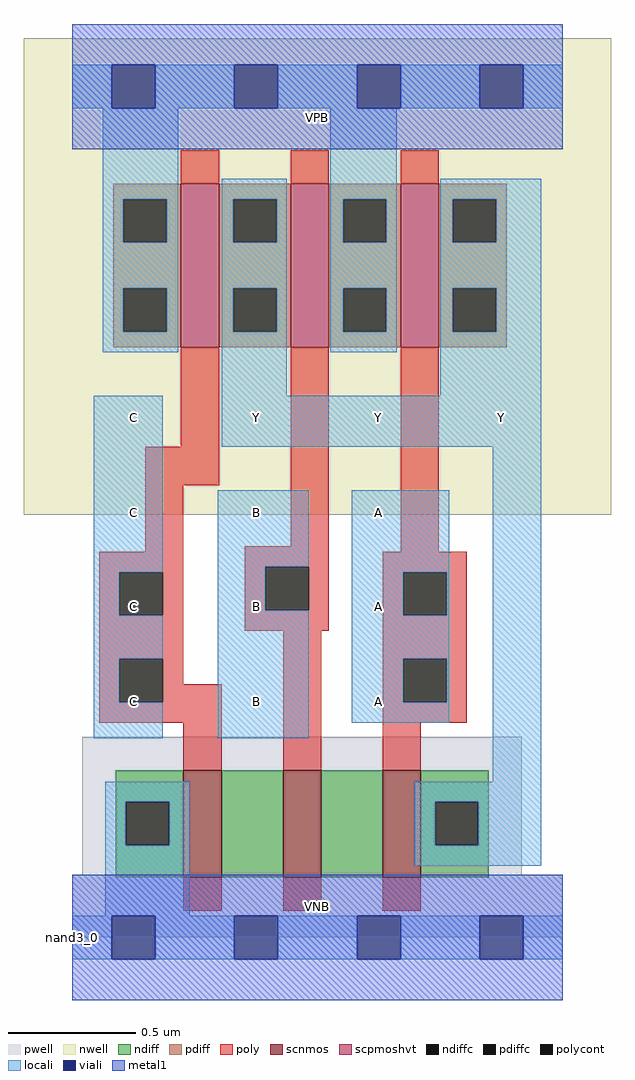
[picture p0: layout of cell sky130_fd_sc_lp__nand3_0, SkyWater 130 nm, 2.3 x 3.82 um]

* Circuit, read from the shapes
.subckt sky130_fd_sc_lp__nand3_0 A B C VGND VNB VPB VPWR Y
XM1 n1 C VGND VNB sky130_fd_pr__nfet_01v8 w=0.42 l=0.15
XM2 n2 B n1 VNB sky130_fd_pr__nfet_01v8 w=0.42 l=0.15
XM3 Y A n2 VNB sky130_fd_pr__nfet_01v8 w=0.42 l=0.15
XM4 Y C VPWR VPB sky130_fd_pr__pfet_01v8_hvt w=0.64 l=0.15
XM5 VPWR B Y VPB sky130_fd_pr__pfet_01v8_hvt w=0.64 l=0.15
XM6 Y A VPWR VPB sky130_fd_pr__pfet_01v8_hvt w=0.64 l=0.15
.ends

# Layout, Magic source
magic
tech sky130A
magscale 1 2
<< nwell >>
rect -38 331 422 704
<< pwell >>
rect 8 49 352 157
rect 0 0 384 49
<< scnmos >>
rect 87 47 117 131
rect 165 47 195 131
rect 243 47 273 131
<< scpmoshvt >>
rect 85 462 115 590
rect 171 462 201 590
rect 257 462 287 590
<< ndiff >>
rect 34 106 87 131
rect 34 72 42 106
rect 76 72 87 106
rect 34 47 87 72
rect 117 47 165 131
rect 195 47 243 131
rect 273 106 326 131
rect 273 72 284 106
rect 318 72 326 106
rect 273 47 326 72
<< pdiff >>
rect 32 578 85 590
rect 32 544 40 578
rect 74 544 85 578
rect 32 508 85 544
rect 32 474 40 508
rect 74 474 85 508
rect 32 462 85 474
rect 115 578 171 590
rect 115 544 126 578
rect 160 544 171 578
rect 115 508 171 544
rect 115 474 126 508
rect 160 474 171 508
rect 115 462 171 474
rect 201 578 257 590
rect 201 544 212 578
rect 246 544 257 578
rect 201 508 257 544
rect 201 474 212 508
rect 246 474 257 508
rect 201 462 257 474
rect 287 578 340 590
rect 287 544 298 578
rect 332 544 340 578
rect 287 508 340 544
rect 287 474 298 508
rect 332 474 340 508
rect 287 462 340 474
<< ndiffc >>
rect 42 72 76 106
rect 284 72 318 106
<< pdiffc >>
rect 40 544 74 578
rect 40 474 74 508
rect 126 544 160 578
rect 126 474 160 508
rect 212 544 246 578
rect 212 474 246 508
rect 298 544 332 578
rect 298 474 332 508
<< poly >>
rect 85 590 115 616
rect 171 590 201 616
rect 257 590 287 616
rect 85 384 115 462
rect 57 354 115 384
rect 57 302 87 354
rect 171 306 201 462
rect 21 286 87 302
rect 21 252 37 286
rect 71 252 87 286
rect 21 218 87 252
rect 135 290 201 306
rect 257 302 287 462
rect 135 256 151 290
rect 185 256 201 290
rect 135 240 201 256
rect 243 286 309 302
rect 243 252 259 286
rect 293 252 309 286
rect 21 184 37 218
rect 71 198 87 218
rect 71 184 117 198
rect 21 168 117 184
rect 87 131 117 168
rect 165 131 195 240
rect 243 218 309 252
rect 243 184 259 218
rect 293 184 309 218
rect 243 168 309 184
rect 243 131 273 168
rect 87 21 117 47
rect 165 21 195 47
rect 243 21 273 47
<< polycont >>
rect 37 252 71 286
rect 151 256 185 290
rect 259 252 293 286
rect 37 184 71 218
rect 259 184 293 218
<< locali >>
rect 0 649 31 683
rect 65 649 127 683
rect 161 649 223 683
rect 257 649 319 683
rect 353 649 384 683
rect 24 578 83 649
rect 24 544 40 578
rect 74 544 83 578
rect 24 508 83 544
rect 24 474 40 508
rect 74 474 83 508
rect 24 458 83 474
rect 117 578 168 594
rect 117 544 126 578
rect 160 544 168 578
rect 117 508 168 544
rect 117 474 126 508
rect 160 474 168 508
rect 117 424 168 474
rect 202 578 254 649
rect 202 544 212 578
rect 246 544 254 578
rect 202 508 254 544
rect 202 474 212 508
rect 246 474 254 508
rect 202 458 254 474
rect 288 578 367 594
rect 288 544 298 578
rect 332 544 367 578
rect 288 508 367 544
rect 288 474 298 508
rect 332 474 367 508
rect 288 424 367 474
rect 17 286 71 424
rect 117 384 367 424
rect 17 252 37 286
rect 17 218 71 252
rect 17 184 37 218
rect 17 156 71 184
rect 114 290 185 350
rect 114 256 151 290
rect 114 156 185 256
rect 219 286 295 350
rect 219 252 259 286
rect 293 252 295 286
rect 219 218 295 252
rect 219 184 259 218
rect 293 184 295 218
rect 219 168 295 184
rect 329 122 367 384
rect 26 106 92 122
rect 26 72 42 106
rect 76 72 92 106
rect 26 17 92 72
rect 268 106 367 122
rect 268 72 284 106
rect 318 72 367 106
rect 268 56 367 72
rect 0 -17 31 17
rect 65 -17 127 17
rect 161 -17 223 17
rect 257 -17 319 17
rect 353 -17 384 17
<< viali >>
rect 31 649 65 683
rect 127 649 161 683
rect 223 649 257 683
rect 319 649 353 683
rect 31 -17 65 17
rect 127 -17 161 17
rect 223 -17 257 17
rect 319 -17 353 17
<< metal1 >>
rect 0 683 384 715
rect 0 649 31 683
rect 65 649 127 683
rect 161 649 223 683
rect 257 649 319 683
rect 353 649 384 683
rect 0 617 384 649
rect 0 17 384 49
rect 0 -17 31 17
rect 65 -17 127 17
rect 161 -17 223 17
rect 257 -17 319 17
rect 353 -17 384 17
rect 0 -49 384 -17
<< labels >>
flabel pwell s 0 0 384 49 0 FreeSans 200 0 0 0 VNB
port 5 nsew ground bidirectional
flabel nwell s 0 617 384 666 0 FreeSans 200 0 0 0 VPB
port 6 nsew power bidirectional
rlabel comment s 0 0 0 0 4 nand3_0
flabel metal1 s 0 617 384 666 0 FreeSans 340 0 0 0 VPWR
port 7 nsew power bidirectional
flabel metal1 s 0 0 384 49 0 FreeSans 340 0 0 0 VGND
port 4 nsew ground bidirectional
flabel locali s 223 168 257 202 0 FreeSans 340 0 0 0 A
port 1 nsew signal input
flabel locali s 223 242 257 276 0 FreeSans 340 0 0 0 A
port 1 nsew signal input
flabel locali s 223 316 257 350 0 FreeSans 340 0 0 0 A
port 1 nsew signal input
flabel locali s 127 168 161 202 0 FreeSans 340 0 0 0 B
port 2 nsew signal input
flabel locali s 127 242 161 276 0 FreeSans 340 0 0 0 B
port 2 nsew signal input
flabel locali s 127 316 161 350 0 FreeSans 340 0 0 0 B
port 2 nsew signal input
flabel locali s 31 168 65 202 0 FreeSans 340 0 0 0 C
port 3 nsew signal input
flabel locali s 31 242 65 276 0 FreeSans 340 0 0 0 C
port 3 nsew signal input
flabel locali s 31 316 65 350 0 FreeSans 340 0 0 0 C
port 3 nsew signal input
flabel locali s 31 390 65 424 0 FreeSans 340 0 0 0 C
port 3 nsew signal input
flabel locali s 127 390 161 424 0 FreeSans 340 0 0 0 Y
port 8 nsew signal output
flabel locali s 223 390 257 424 0 FreeSans 340 0 0 0 Y
port 8 nsew signal output
flabel locali s 319 390 353 424 0 FreeSans 340 0 0 0 Y
port 8 nsew signal output
<< properties >>
string LEFsite unit
string LEFclass CORE
string FIXED_BBOX 0 0 384 666
string GDS_FILE $PDKPATH/libs.ref/sky130_fd_sc_lp/gds/sky130_fd_sc_lp.gds
string LEFsymmetry X Y R90
string GDS_END 388858
string GDS_START 383494
<< end >>
